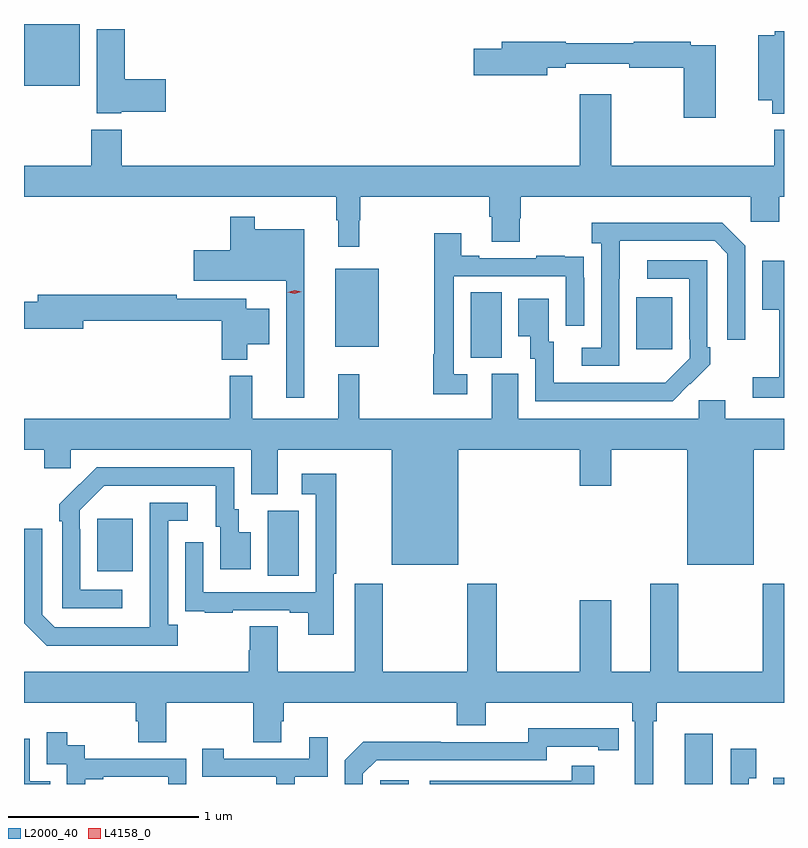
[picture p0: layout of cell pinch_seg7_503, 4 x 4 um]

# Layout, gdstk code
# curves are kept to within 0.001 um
import gdstk
lib = gdstk.Library(unit=1e-6, precision=1e-09)
def R(c, l, rs):  # rectangles x0, y0, x1, y1
    for r in rs: c.add(gdstk.rectangle(r[:2], r[2:], *l))
def P(c, l, *ps):  # polygons
    for p in ps: c.add(gdstk.Polygon(p, *l))
L2000_40 = (2000, 40)
L4158_0 = (4158, 0)

pinch_seg7_503 = lib.new_cell('pinch_seg7_503')
R(pinch_seg7_503, L2000_40, [(139.98,1076.113,140.131,1076.134), (141.584,1076.113,141.73,1076.377), (142.049,1076.113,142.106,1076.146), (139.388,1077.208,139.552,1077.552), (138.491,1077.233,138.679,1077.508), (140.456,1078.357,140.62,1078.7), (141.329,1078.401,141.517,1078.675), (139.745,1078.415,139.972,1078.825), (138.107,1079.789,138.4,1080.113)])
P(pinch_seg7_503, L2000_40, [(138.618,1079.651),(138.853,1079.651),(138.853,1079.822),(138.635,1079.822),(138.635,1080.085),(138.488,1080.085),(138.488,1079.642),(138.618,1079.642)],
  [(142.106,1080.076),(142.056,1080.076),(142.056,1080.055),(141.971,1080.055),(141.971,1079.711),(142.045,1079.711),(142.045,1079.641),(142.106,1079.641)],
  [(141.748,1080),(141.614,1080),(141.614,1080.02),(141.314,1080.02),(141.314,1080.013),(140.956,1080.013),(140.956,1080.02),(140.621,1080.02),(140.621,1079.984),(140.472,1079.984),(140.472,1079.842),(140.86,1079.842),(140.86,1079.884),(140.956,1079.884),(140.956,1079.903),(141.292,1079.903),(141.292,1079.884),(141.578,1079.884),(141.578,1079.619),(141.748,1079.619)],
  [(139.87,1079.081),(139.877,1079.081),(139.877,1079.204),(140.555,1079.204),(140.555,1079.098),(140.567,1079.098),(140.567,1078.966),(140.715,1078.966),(140.715,1079.091),(140.72,1079.091),(140.72,1079.204),(141.93,1079.204),(141.93,1079.073),(142.082,1079.073),(142.082,1079.204),(142.106,1079.204),(142.106,1079.556),(142.055,1079.556),(142.055,1079.368),(141.196,1079.368),(141.196,1079.743),(141.032,1079.743),(141.032,1079.368),(138.62,1079.368),(138.62,1079.557),(138.46,1079.557),(138.46,1079.368),(138.106,1079.368),(138.106,1079.204),(139.749,1079.204),(139.749,1079.081),(139.76,1079.081),(139.76,1078.941),(139.87,1078.941)],
  [(139.582,1079.032),(139.321,1079.032),(139.321,1079.098),(139.192,1079.098),(139.192,1078.921),(138.999,1078.921),(138.999,1078.763),(139.485,1078.763),(139.485,1078.146),(139.582,1078.146)],
  [(141.24,1078.771),(141.241,1078.971),(141.741,1078.971),(141.807,1078.905),(141.807,1078.452),(141.903,1078.452),(141.903,1078.947),(141.782,1079.068),(141.093,1079.068),(141.093,1078.958),(141.144,1078.958),(141.144,1078.41),(141.042,1078.41),(141.042,1078.314),(141.24,1078.314)],
  [(140.44,1078.269),(140.367,1078.269),(140.367,1078.785),(140.958,1078.785),(140.958,1078.524),(141.054,1078.524),(141.054,1078.778),(141.053,1078.778),(141.053,1078.887),(140.951,1078.887),(140.951,1078.894),(140.803,1078.894),(140.803,1078.881),(140.503,1078.881),(140.503,1078.894),(140.407,1078.894),(140.407,1079.011),(140.266,1079.011),(140.266,1078.376),(140.259,1078.376),(140.259,1078.164),(140.44,1078.164)],
  [(141.611,1078.219),(141.612,1078.218),(141.717,1078.323),(141.717,1078.411),(141.702,1078.411),(141.702,1078.869),(141.387,1078.869),(141.387,1078.773),(141.606,1078.773),(141.606,1078.453),(141.609,1078.453),(141.609,1078.353),(141.481,1078.225),(140.893,1078.224),(140.893,1078.44),(140.869,1078.44),(140.869,1078.666),(140.708,1078.666),(140.708,1078.469),(140.771,1078.469),(140.771,1078.35),(140.796,1078.35),(140.796,1078.128),(141.52,1078.128)],
  [(142.106,1078.867),(141.992,1078.867),(141.992,1078.61),(142.082,1078.61),(142.082,1078.255),(141.942,1078.255),(141.942,1078.146),(142.106,1078.146)],
  [(139.282,1078.427),(139.396,1078.427),(139.396,1078.615),(139.276,1078.615),(139.276,1078.668),(138.911,1078.668),(138.911,1078.688),(138.179,1078.688),(138.179,1078.652),(138.106,1078.652),(138.106,1078.51),(138.418,1078.51),(138.418,1078.552),(139.148,1078.552),(139.148,1078.346),(139.282,1078.346)],
  [(140.392,1077.872),(141.032,1077.872),(141.032,1077.684),(141.196,1077.684),(141.196,1077.872),(141.596,1077.872),(141.596,1077.266),(141.946,1077.266),(141.946,1077.872),(142.106,1077.872),(142.106,1078.036),(141.796,1078.036),(141.796,1078.134),(141.657,1078.134),(141.657,1078.036),(140.707,1078.036),(140.707,1078.272),(140.567,1078.272),(140.567,1078.036),(139.87,1078.036),(139.87,1078.27),(139.76,1078.27),(139.76,1078.036),(139.307,1078.036),(139.307,1078.261),(139.189,1078.261),(139.189,1078.036),(138.106,1078.036),(138.106,1077.872),(138.212,1077.872),(138.212,1077.774),(138.351,1077.774),(138.351,1077.872),(139.301,1077.872),(139.301,1077.637),(139.441,1077.637),(139.441,1077.872),(140.042,1077.872),(140.042,1077.266),(140.392,1077.266)],
  [(138.622,1077.135),(138.402,1077.135),(138.402,1077.455),(138.399,1077.455),(138.399,1077.555),(138.528,1077.684),(139.115,1077.684),(139.115,1077.468),(139.139,1077.468),(139.139,1077.243),(139.3,1077.243),(139.3,1077.439),(139.237,1077.439),(139.237,1077.558),(139.212,1077.558),(139.212,1077.78),(138.488,1077.78),(138.291,1077.585),(138.291,1077.497),(138.306,1077.497),(138.306,1077.039),(138.622,1077.039)],
  [(139.737,1077.22),(139.75,1077.22),(139.75,1077.745),(139.569,1077.745),(139.569,1077.639),(139.641,1077.639),(139.641,1077.123),(139.05,1077.123),(139.05,1077.385),(138.954,1077.385),(138.954,1077.13),(138.955,1077.13),(138.955,1077.021),(139.057,1077.021),(139.057,1077.015),(139.205,1077.015),(139.205,1077.027),(139.505,1077.027),(139.505,1077.015),(139.601,1077.015),(139.601,1076.898),(139.737,1076.898)],
  [(138.916,1076.95),(138.864,1076.95),(138.864,1077.498),(138.967,1077.498),(138.967,1077.594),(138.768,1077.594),(138.767,1076.937),(138.267,1076.937),(138.201,1077.003),(138.201,1077.457),(138.106,1077.457),(138.106,1076.96),(138.226,1076.84),(138.916,1076.84)],
  [(141.418,1076.444),(141.437,1076.444),(141.437,1076.54),(142.106,1076.54),(142.106,1077.166),(141.994,1077.166),(141.994,1076.704),(141.549,1076.704),(141.549,1077.166),(141.401,1077.166),(141.401,1076.704),(141.196,1076.704),(141.196,1077.079),(141.032,1077.079),(141.032,1076.704),(140.595,1076.704),(140.595,1077.166),(140.44,1077.166),(140.44,1076.704),(139.995,1076.704),(139.995,1077.166),(139.847,1077.166),(139.847,1076.704),(139.441,1076.704),(139.441,1076.942),(139.294,1076.942),(139.294,1076.817),(139.289,1076.817),(139.289,1076.704),(138.106,1076.704),(138.106,1076.54),(138.695,1076.54),(138.695,1076.442),(138.707,1076.442),(138.707,1076.332),(138.855,1076.332),(138.855,1076.54),(139.312,1076.54),(139.312,1076.332),(139.459,1076.332),(139.459,1076.442),(139.472,1076.442),(139.472,1076.54),(140.384,1076.54),(140.384,1076.423),(140.536,1076.423),(140.536,1076.54),(141.308,1076.54),(141.308,1076.444),(141.321,1076.444),(141.321,1076.113),(141.418,1076.113)],
  [(139.89,1076.166),(139.962,1076.238),(140.856,1076.238),(140.856,1076.31),(141.128,1076.31),(141.128,1076.29),(141.236,1076.29),(141.236,1076.406),(140.76,1076.407),(140.76,1076.334),(140.3,1076.334),(140.3,1076.336),(139.892,1076.336),(139.794,1076.238),(139.794,1076.113),(139.89,1076.113)],
  [(138.428,1076.139),(138.523,1076.139),(138.523,1076.151),(138.864,1076.151),(138.864,1076.113),(138.96,1076.113),(138.96,1076.247),(138.426,1076.247),(138.426,1076.316),(138.334,1076.316),(138.334,1076.386),(138.225,1076.386),(138.225,1076.217),(138.33,1076.217),(138.33,1076.113),(138.428,1076.113)],
  [(139.53,1076.151),(139.704,1076.151),(139.704,1076.359),(139.607,1076.359),(139.607,1076.247),(139.156,1076.247),(139.156,1076.299),(139.045,1076.299),(139.045,1076.151),(139.434,1076.151),(139.434,1076.113),(139.53,1076.113)],
  [(138.245,1076.127),(138.135,1076.127),(138.135,1076.352),(138.106,1076.352),(138.106,1076.113),(138.245,1076.113)],
  [(141.921,1076.143),(141.961,1076.143),(141.961,1076.299),(141.825,1076.299),(141.825,1076.113),(141.921,1076.113)],
  [(141.107,1076.209),(140.989,1076.209),(140.989,1076.13),(140.241,1076.13),(140.241,1076.113),(141.107,1076.113)])
P(pinch_seg7_503, L4158_0, [(139.531,1078.693),(139.495,1078.701),(139.495,1078.701),(139.495,1078.701),(139.53,1078.713),(139.566,1078.705),(139.566,1078.704),(139.566,1078.704)])

lib.write_gds('pinch_seg7_503.gds')
